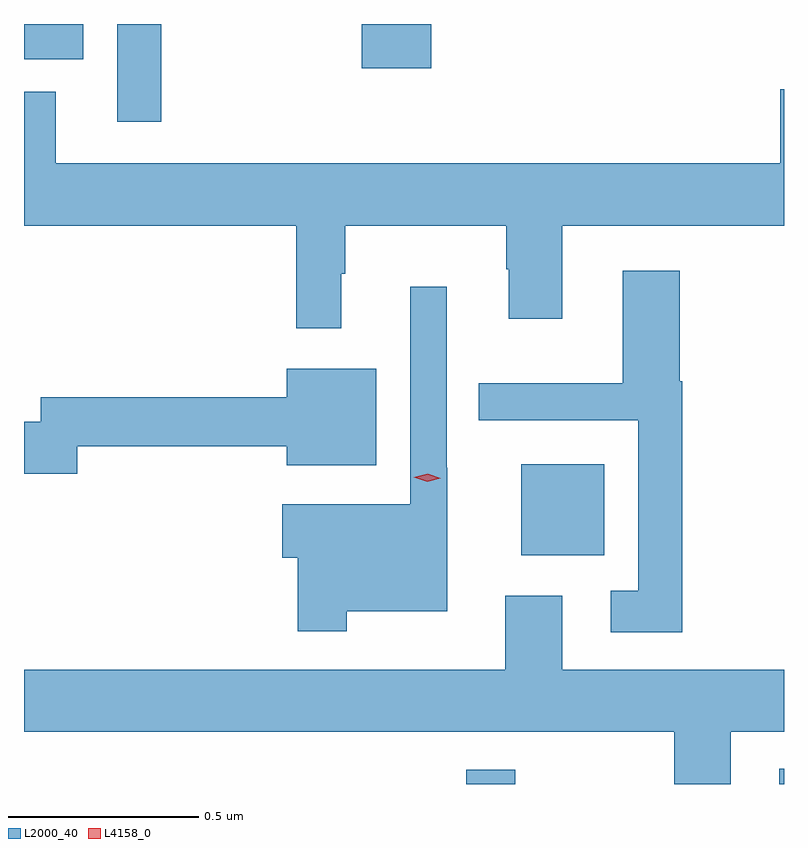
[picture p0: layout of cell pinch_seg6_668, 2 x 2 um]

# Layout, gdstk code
import gdstk
lib = gdstk.Library(unit=1e-6, precision=1e-09)
def R(c, l, rs):  # rectangles x0, y0, x1, y1
    for r in rs: c.add(gdstk.rectangle(r[:2], r[2:], *l))
def P(c, l, *ps):  # polygons
    for p in ps: c.add(gdstk.Polygon(p, *l))
L2000_40 = (2000, 40)
L4158_0 = (4158, 0)

pinch_seg6_668 = lib.new_cell('pinch_seg6_668')
R(pinch_seg6_668, L2000_40, [(456.205,953.859,456.334,953.896), (457.029,953.859,457.041,953.899), (456.35,954.461,456.568,954.7), (455.286,955.602,455.402,955.859), (455.93,955.743,456.113,955.859), (455.041,955.766,455.197,955.859)])
P(pinch_seg6_668, L2000_40, [(455.876,955.202),(455.887,955.202),(455.887,955.328),(456.31,955.328),(456.31,955.214),(456.317,955.214),(456.317,955.083),(456.457,955.083),(456.457,955.328),(457.041,955.328),(457.041,955.687),(457.031,955.687),(457.031,955.492),(455.125,955.492),(455.125,955.681),(455.041,955.681),(455.041,955.328),(455.758,955.328),(455.758,955.059),(455.876,955.059)],
  [(456.773,954.919),(456.767,954.919),(456.767,955.21),(456.617,955.21),(456.617,954.913),(456.238,954.913),(456.238,954.816),(456.657,954.816),(456.657,954.367),(456.585,954.367),(456.585,954.258),(456.773,954.258)],
  [(455.89,954.314),(456.155,954.314),(456.155,954.691),(456.153,954.691),(456.153,955.168),(456.057,955.168),(456.057,954.595),(455.72,954.595),(455.72,954.454),(455.761,954.454),(455.761,954.261),(455.89,954.261)],
  [(455.181,954.748),(455.732,954.748),(455.732,954.698),(455.968,954.698),(455.968,954.952),(455.732,954.952),(455.732,954.877),(455.085,954.877),(455.085,954.812),(455.041,954.812),(455.041,954.676),(455.181,954.676)],
  [(456.901,953.996),(457.041,953.996),(457.041,954.16),(456.457,954.16),(456.457,954.355),(456.308,954.355),(456.308,954.16),(455.041,954.16),(455.041,953.996),(456.752,953.996),(456.752,953.859),(456.901,953.859)])
P(pinch_seg6_668, L4158_0, [(456.102,954.655),(456.067,954.666),(456.067,954.666),(456.067,954.666),(456.103,954.675),(456.138,954.664),(456.138,954.663),(456.138,954.663)])

lib.write_gds('pinch_seg6_668.gds')
